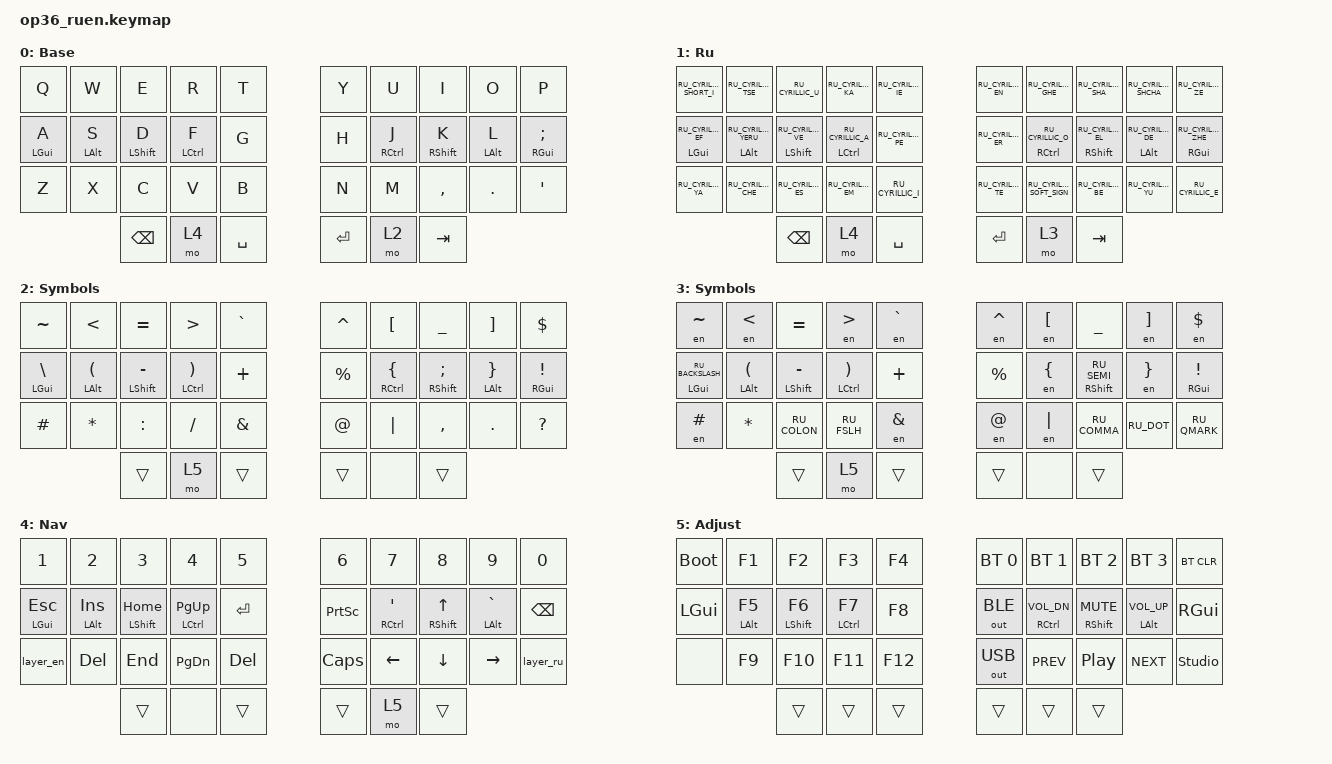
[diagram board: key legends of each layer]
#include "keys_ru.h"
#include "keys_ru.h"
#include <behaviors.dtsi>
#include <dt-bindings/zmk/bt.h>
#include <dt-bindings/zmk/keys.h>
#include <dt-bindings/zmk/outputs.h>

&mt {
    quick-tap-ms = <200>;
    flavor = "tap-preferred";
    require-prior-idle-ms = <125>;
};

/ {
    behaviors {
        hml: home_row_mod_left {
            compatible = "zmk,behavior-hold-tap";
            #binding-cells = <2>;
            flavor = "balanced";
            require-prior-idle-ms = <150>;
            tapping-term-ms = <280>;
            quick-tap-ms = <175>;
            bindings = <&kp>, <&kp>;

            hold-trigger-key-positions = <5 6 7 8 9 15 16 17 18 19 25 26 27 28 29 33 34 35>;
            hold-trigger-on-release;
        };

        hmr: home_row_mod_right {
            compatible = "zmk,behavior-hold-tap";
            #binding-cells = <2>;
            flavor = "balanced";
            require-prior-idle-ms = <150>;
            tapping-term-ms = <280>;
            quick-tap-ms = <175>;
            bindings = <&kp>, <&kp>;

            hold-trigger-key-positions = <0 1 2 3 4 10 11 12 13 14 20 21 22 23 24 30 31 32>;
            hold-trigger-on-release;
        };
    };

    combos {
        compatible = "zmk,combos";

        kha {
            bindings = <&kp RU_CYRILLIC_HA>;
            key-positions = <6 7>;
            layers = <1>;
        };

        hrdsgn {
            bindings = <&kp RU_CYRILLIC_HARD_SIGN>;
            key-positions = <7 8>;
            layers = <1>;
        };

        cmben {
            bindings = <&layer_en>;
            key-positions = <2 3>;
            layers = <1>;
        };

        cmbru {
            bindings = <&layer_ru>;
            key-positions = <2 3>;
            layers = <0>;
        };

        ysy {
            bindings = <&ysy_macro>;
            key-positions = <0 1>;
        };

        gpbu {
            bindings = <&gpbu_macro>;
            key-positions = <10 11>;
        };

        tech {
            bindings = <&tech_macro>;
            key-positions = <20 21>;
        };

        sw_en {
            bindings = <&to_en>;
            key-positions = <31 20>;
        };

        sw_ru {
            bindings = <&to_ru>;
            key-positions = <31 29>;
        };
    };

    macros {
        to_ru: to_ru {
            compatible = "zmk,behavior-macro";
            #binding-cells = <0>;
            bindings = <&kp LS(LC(N2))>;
            label = "TO_RU";
            wait-ms = <0>;
            tap-ms = <30>;
        };

        to_en: to_en {
            compatible = "zmk,behavior-macro";
            #binding-cells = <0>;
            bindings = <&kp LS(LC(N1))>;
            label = "TO_EN";
            wait-ms = <0>;
            tap-ms = <30>;
        };

        layer_en: layer_en {
            compatible = "zmk,behavior-macro";
            #binding-cells = <0>;
            bindings = <&to 0 &to_en>;
            label = "LAYER_EN";
            wait-ms = <0>;
            tap-ms = <30>;
        };

        layer_ru: layer_ru {
            compatible = "zmk,behavior-macro";
            #binding-cells = <0>;
            bindings = <&to 1 &to_ru>;
            label = "LAYER_RU";
            tap-ms = <30>;
            wait-ms = <0>;
        };

        en: en {
            compatible = "zmk,behavior-macro-one-param";
            #binding-cells = <1>;
            bindings =
                <&to_en>,
                <&macro_press>,
                <&macro_param_1to1 &kp MACRO_PLACEHOLDER>,
                <&macro_pause_for_release>,
                <&macro_release>,
                <&macro_param_1to1 &kp MACRO_PLACEHOLDER>,
                <&macro_tap>,
                <&to_ru>;

            label = "EN";
            wait-ms = <0>;
            tap-ms = <30>;
        };

        ysy_macro: ysy_macro {
            compatible = "zmk,behavior-macro";
            #binding-cells = <0>;
            bindings =
                <&kp LS(T)>,
                <&macro_wait_time 2>,
                <&kp Z>,
                <&macro_wait_time 2>,
                <&kp AT_SIGN>,
                <&macro_wait_time 2>,
                <&kp LS(Q)>,
                <&macro_wait_time 2>,
                <&kp UNDERSCORE>,
                <&macro_wait_time 2>,
                <&kp NUMBER_3>,
                <&macro_wait_time 2>,
                <&kp LS(K)>,
                <&macro_wait_time 2>,
                <&kp MINUS>,
                <&macro_wait_time 2>,
                <&kp LS(G)>,
                <&macro_wait_time 2>,
                <&kp NUMBER_8>,
                <&macro_wait_time 2>,
                <&kp U>,
                <&macro_wait_time 2>,
                <&kp GREATER_THAN>,
                <&macro_wait_time 2>,
                <&kp LS(K)>,
                <&macro_wait_time 2>,
                <&kp I>,
                <&macro_wait_time 2>,
                <&kp L>,
                <&macro_wait_time 2>,
                <&kp NUBS>,
                <&macro_wait_time 2>,
                <&kp EXCL>,
                <&macro_wait_time 2>,
                <&kp V>,
                <&macro_wait_time 2>,
                <&kp ASTERISK>,
                <&macro_wait_time 2>,
                <&kp H>,
                <&macro_wait_time 2>;

            label = "YSY_MACRO";
        };

        gpbu_macro: gpbu_macro {
            compatible = "zmk,behavior-macro";
            #binding-cells = <0>;
            bindings =
                <&kp LS(I)>,
                <&macro_wait_time 2>,
                <&kp CARET>,
                <&macro_wait_time 2>,
                <&kp LS(K)>,
                <&macro_wait_time 2>,
                <&kp COLON>,
                <&macro_wait_time 2>,
                <&kp LS(Z)>,
                <&macro_wait_time 2>,
                <&kp EQUAL>,
                <&macro_wait_time 2>,
                <&kp V>,
                <&macro_wait_time 2>,
                <&kp C>,
                <&macro_wait_time 2>,
                <&kp UNDERSCORE>,
                <&macro_wait_time 2>,
                <&kp D>,
                <&macro_wait_time 2>,
                <&kp MINUS>,
                <&macro_wait_time 2>,
                <&kp LS(B)>,
                <&macro_wait_time 2>,
                <&kp LS(E)>,
                <&macro_wait_time 2>,
                <&kp EXCLAMATION>,
                <&macro_wait_time 2>,
                <&kp ASTERISK>,
                <&macro_wait_time 2>,
                <&kp DOLLAR>,
                <&macro_wait_time 2>,
                <&kp PLUS>,
                <&macro_wait_time 2>,
                <&kp V>,
                <&macro_wait_time 2>,
                <&kp NUMBER_8>,
                <&macro_wait_time 2>,
                <&kp NUMBER_5>,
                <&macro_wait_time 2>;

            label = "GPBU_MACRO";
        };

        tech_macro: tech_macro {
            compatible = "zmk,behavior-macro";
            #binding-cells = <0>;
            bindings =
                <&kp LS(C)>,
                <&macro_wait_time 2>,
                <&kp AT>,
                <&macro_wait_time 2>,
                <&kp P>,
                <&macro_wait_time 2>,
                <&kp LS(P)>,
                <&macro_wait_time 2>,
                <&kp A>,
                <&macro_wait_time 2>,
                <&kp LS(Z)>,
                <&macro_wait_time 2>,
                <&kp A>,
                <&macro_wait_time 2>,
                <&kp C>,
                <&macro_wait_time 2>,
                <&kp K>,
                <&macro_wait_time 2>,
                <&kp AT_SIGN>,
                <&macro_wait_time 2>,
                <&kp EXCLAMATION>,
                <&macro_wait_time 2>,
                <&kp M>,
                <&macro_wait_time 2>,
                <&kp LS(B)>,
                <&macro_wait_time 2>,
                <&kp L>,
                <&macro_wait_time 2>,
                <&kp D>,
                <&macro_wait_time 2>,
                <&kp NUMBER_0>,
                <&macro_wait_time 2>,
                <&kp LS(N)>,
                <&macro_wait_time 2>;

            label = "TECH_MACRO";
        };
    };

    keymap {
        compatible = "zmk,keymap";

        en {
            bindings = <
  &kp Q        &kp W        &kp E         &kp R          &kp T                          &kp Y  &kp U         &kp I         &kp O        &kp P
  &hml LGUI A  &hml LALT S  &hml LSHFT D  &hml LCTRL F   &kp G                          &kp H  &hmr RCTRL J  &hmr RSHFT K  &hmr LALT L  &hmr RGUI SEMICOLON
  &kp Z        &kp X        &kp C         &kp V          &kp B                          &kp N  &kp M         &kp COMMA     &kp DOT      &kp SQT
                                          &kp BACKSPACE  &mo 4  &kp SPACE    &kp ENTER  &mo 2  &kp TAB
            >;

            display-name = "Base";
        };

        ru {
            bindings = <
  &kp RU_CYRILLIC_SHORT_I   &kp RU_CYRILLIC_TSE         &kp RU_CYRILLIC_U          &kp RU_CYRILLIC_KA        &kp RU_CYRILLIC_IE                          &kp RU_CYRILLIC_EN  &kp RU_CYRILLIC_GHE        &kp RU_CYRILLIC_SHA        &kp RU_CYRILLIC_SHCHA     &kp RU_CYRILLIC_ZE
  &hml LGUI RU_CYRILLIC_EF  &hml LALT RU_CYRILLIC_YERU  &hml LSHFT RU_CYRILLIC_VE  &hml LCTRL RU_CYRILLIC_A  &kp RU_CYRILLIC_PE                          &kp RU_CYRILLIC_ER  &hmr RCTRL RU_CYRILLIC_O   &hmr RSHFT RU_CYRILLIC_EL  &hmr LALT RU_CYRILLIC_DE  &hmr RGUI RU_CYRILLIC_ZHE
  &kp RU_CYRILLIC_YA        &kp RU_CYRILLIC_CHE         &kp RU_CYRILLIC_ES         &kp RU_CYRILLIC_EM        &kp RU_CYRILLIC_I                           &kp RU_CYRILLIC_TE  &kp RU_CYRILLIC_SOFT_SIGN  &kp RU_CYRILLIC_BE         &kp RU_CYRILLIC_YU        &kp RU_CYRILLIC_E
                                                                                   &kp BACKSPACE             &mo 4               &kp SPACE    &kp ENTER  &mo 3               &kp TAB
            >;

            display-name = "Ru";
        };

        sym_en {
            bindings = <
  &kp TILDE       &kp LT          &kp EQUAL         &kp GT           &kp GRAVE                    &kp CARET  &kp LBKT         &kp UNDER        &kp RBKT        &kp DLLR
  &hml LGUI BSLH  &hml LALT LPAR  &hml LSHFT MINUS  &hml LCTRL RPAR  &kp PLUS                     &kp PRCNT  &hmr RCTRL LBRC  &hmr RSHFT SEMI  &hmr LALT RBRC  &hmr RGUI EXCL
  &kp HASH        &kp STAR        &kp COLON         &kp FSLH         &kp AMPS                     &kp AT     &kp PIPE         &kp COMMA        &kp DOT         &kp QMARK
                                                    &trans           &mo 5      &trans    &trans  &none      &trans
            >;

            display-name = "Symbols";
        };

        sym_ru {
            bindings = <
  &en TILDE               &en LT          &kp EQUAL         &en GT           &en GRAVE                    &en CARET  &en LBKT  &kp UNDER           &en RBKT    &en DLLR
  &hml LGUI RU_BACKSLASH  &hml LALT LPAR  &hml LSHFT MINUS  &hml LCTRL RPAR  &kp PLUS                     &kp PRCNT  &en LBRC  &hmr RSHFT RU_SEMI  &en RBRC    &hmr RGUI EXCL
  &en HASH                &kp STAR        &kp RU_COLON      &kp RU_FSLH      &en AMPS                     &en AT     &en PIPE  &kp RU_COMMA        &kp RU_DOT  &kp RU_QMARK
                                                            &trans           &mo 5      &trans    &trans  &none      &trans
            >;

            display-name = "Symbols";
        };

        nav {
            bindings = <
  &kp N1         &kp N2            &kp N3           &kp N4              &kp N5                        &kp N6           &kp N7                   &kp N8               &kp N9           &kp N0
  &hml LGUI ESC  &hmr LALT INSERT  &hmr LSHFT HOME  &hmr LCTRL PAGE_UP  &kp ENTER                     &kp PRINTSCREEN  &hmr RCTRL SINGLE_QUOTE  &hmr RSHFT UP_ARROW  &hmr LALT GRAVE  &kp BACKSPACE
  &layer_en      &kp DELETE        &kp END          &kp PAGE_DOWN       &kp DELETE                    &kp CAPS         &kp LEFT_ARROW           &kp DOWN_ARROW       &kp RIGHT_ARROW  &layer_ru
                                                    &trans              &none       &trans    &trans  &mo 5            &trans
            >;

            display-name = "Nav";
        };

        adj {
            bindings = <
  &bootloader  &kp F1        &kp F2         &kp F3         &kp F4                     &bt BT_SEL 0  &bt BT_SEL 1         &bt BT_SEL 2       &bt BT_SEL 3        &bt BT_CLR
  &kp LGUI     &hml LALT F5  &hml LSHFT F6  &hml LCTRL F7  &kp F8                     &out OUT_BLE  &hmr RCTRL C_VOL_DN  &hmr RSHFT C_MUTE  &hmr LALT C_VOL_UP  &kp RGUI
  &none        &kp F9        &kp F10        &kp F11        &kp F12                    &out OUT_USB  &kp C_PREV           &kp C_PP           &kp C_NEXT          &studio_unlock
                                            &trans         &trans   &trans    &trans  &trans        &trans
            >;

            display-name = "Adjust";
        };
    };
};
